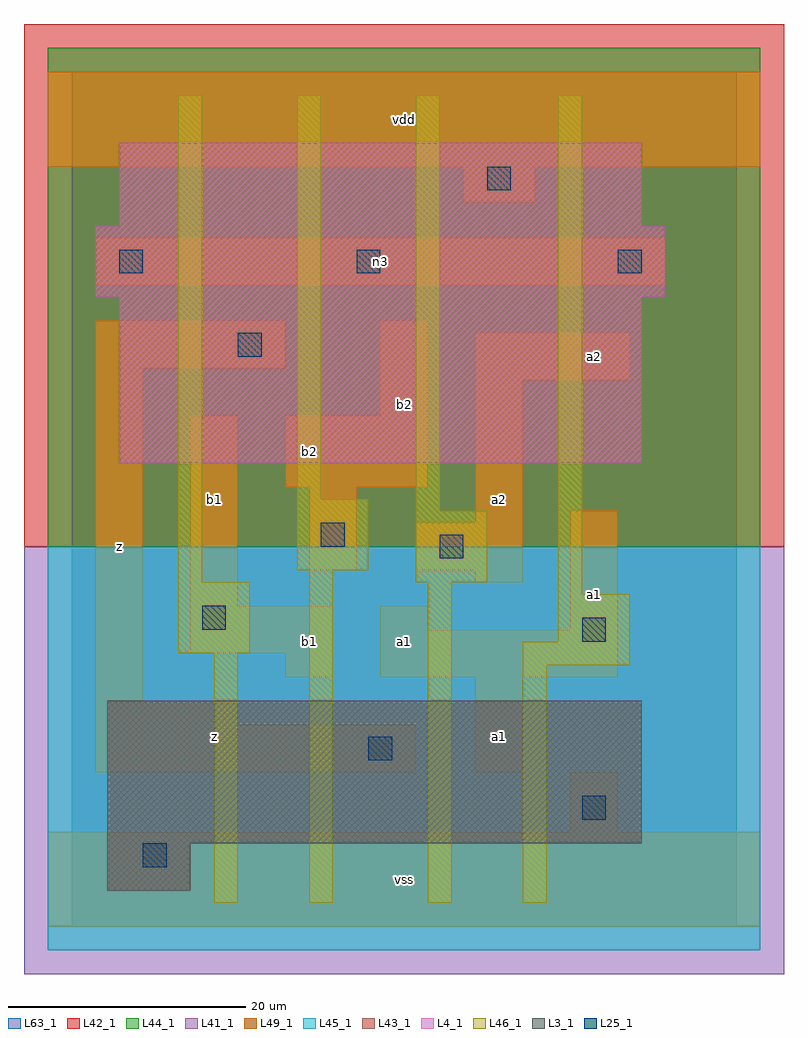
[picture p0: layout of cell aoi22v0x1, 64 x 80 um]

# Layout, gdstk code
import gdstk
lib = gdstk.Library(unit=1e-6, precision=1e-09)
def R(c, l, rs):  # rectangles x0, y0, x1, y1
    for r in rs: c.add(gdstk.rectangle(r[:2], r[2:], *l))
L3_1 = (3, 1)
L4_1 = (4, 1)
L25_1 = (25, 1)
L41_1 = (41, 1)
L42_1 = (42, 1)
L43_1 = (43, 1)
L44_1 = (44, 1)
L45_1 = (45, 1)
L46_1 = (46, 1)
L49_1 = (49, 1)
L63_1 = (63, 1)

aoi22v0x1 = lib.new_cell('aoi22v0x1')
R(aoi22v0x1, L3_1, [(3,3,10,7), (3,7,48,19)])
R(aoi22v0x1, L4_1, [(4,39,48,53), (2,53,50,59), (4,59,48,66)])
R(aoi22v0x1, L25_1, [(6,5,8,7), (43,9,45,11), (25,14,27,16), (43,24,45,26), (11,25,13,27), (31,31,33,33), (21,32,23,34), (14,48,16,50), (4,55,6,57), (24,55,26,57), (46,55,48,57), (35,62,37,64)])
R(aoi22v0x1, L41_1, [(-4,-4,60,32)])
R(aoi22v0x1, L42_1, [(-4,32,60,76)])
R(aoi22v0x1, L43_1, [(3,3,10,7), (3,7,48,19), (4,39,48,53), (2,53,50,59), (4,59,48,66)])
R(aoi22v0x1, L44_1, [(-2,32,58,74)])
R(aoi22v0x1, L45_1, [(-2,-2,58,32)])
R(aoi22v0x1, L46_1, [(12,2,14,23), (20,2,22,30), (30,2,32,29), (38,2,40,22), (38,22,47,24), (9,23,15,29), (41,24,47,28), (41,28,43,70), (9,29,11,70), (29,29,35,35), (19,30,25,36), (29,35,31,70), (19,36,21,70)])
R(aoi22v0x1, L49_1, [(-2,0,58,8), (42,8,46,13), (2,13,29,17), (34,13,38,21), (2,17,14,19), (2,19,6,47), (18,21,22,23), (26,21,46,25), (10,23,22,27), (26,25,30,27), (42,25,46,35), (10,27,14,43), (34,29,38,30), (20,30,24,37), (29,30,38,34), (34,34,38,46), (18,37,30,43), (26,43,30,51), (34,46,47,50), (2,47,18,51), (2,54,50,58), (33,61,39,64), (-2,64,58,72)])
R(aoi22v0x1, L63_1, [(0,0,56,72)])
aoi22v0x1.add(gdstk.Label('z', (4,32), layer=49, texttype=1))
aoi22v0x1.add(gdstk.Label('z', (12,16), layer=49, texttype=1))
aoi22v0x1.add(gdstk.Label('b1', (20,24), layer=49, texttype=1))
aoi22v0x1.add(gdstk.Label('b2', (20,40), layer=49, texttype=1))
aoi22v0x1.add(gdstk.Label('b1', (12,36), layer=49, texttype=1))
aoi22v0x1.add(gdstk.Label('vss', (28,4), layer=49, texttype=1))
aoi22v0x1.add(gdstk.Label('a1', (36,16), layer=49, texttype=1))
aoi22v0x1.add(gdstk.Label('a1', (28,24), layer=49, texttype=1))
aoi22v0x1.add(gdstk.Label('a2', (36,36), layer=49, texttype=1))
aoi22v0x1.add(gdstk.Label('b2', (28,44), layer=49, texttype=1))
aoi22v0x1.add(gdstk.Label('vdd', (28,68), layer=49, texttype=1))
aoi22v0x1.add(gdstk.Label('a1', (44,28), layer=49, texttype=1))
aoi22v0x1.add(gdstk.Label('a2', (44,48), layer=49, texttype=1))
aoi22v0x1.add(gdstk.Label('n3', (26,56), layer=49, texttype=1))

lib.write_gds('aoi22v0x1.gds')
